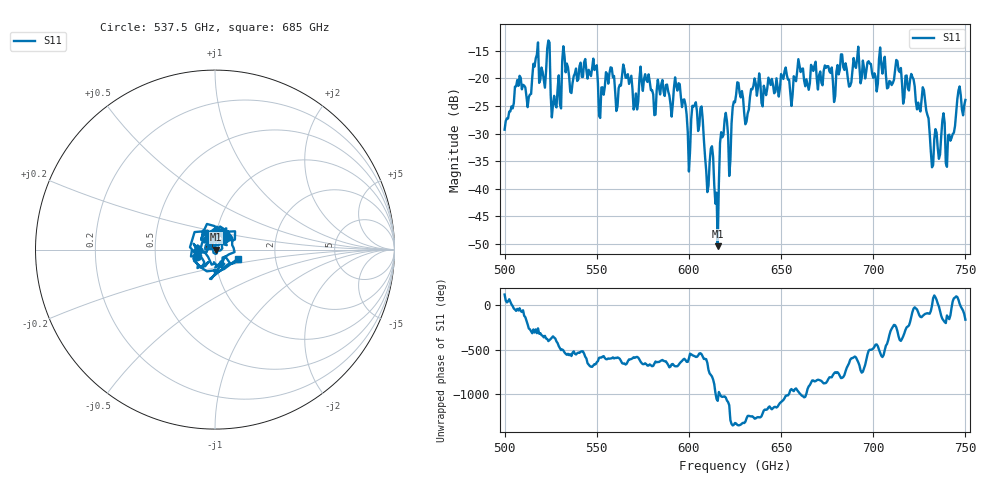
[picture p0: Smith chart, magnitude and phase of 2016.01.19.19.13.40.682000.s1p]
!Created with skrf (http://scikit-rf.org).
# GHz S RI R 50.0
!freq ReS11 ImS11
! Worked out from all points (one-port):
!   401 points, 500 GHz to 750 GHz, reference 50 ohm
!   lowest |S11| = -50.4 dB at 615.6 GHz (marker M1), VSWR 1.01, Z = 50.3 + j0.0271 ohm
!   |S11| at or under -10 dB: start of sweep to end of sweep
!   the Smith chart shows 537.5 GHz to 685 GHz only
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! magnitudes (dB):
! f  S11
! 500 GHz  -29.3
! 507.5 GHz  -21.3
! 513.1 GHz  -23.4
! 516.9 GHz  -16.4
! 523.8 GHz  -13.1
! 526.9 GHz  -23.1
! 531.2 GHz  -16.8
! 562.5 GHz  -21.1
! 593.8 GHz  -22.2
! 600 GHz  -36.9
! 602.5 GHz  -25.1
! 606.9 GHz  -25.1
! 609.4 GHz  -36.7
! 612.5 GHz  -32.3
! 615.6 GHz  -50.4
! 618.1 GHz  -30.7
! 622.5 GHz  -34.8
! 625 GHz  -24.3
! 631.2 GHz  -27.8
! 635 GHz  -21.3
! 656.2 GHz  -23.0
! 660.6 GHz  -18.8
! 687.5 GHz  -21.3
! 690.6 GHz  -18.1
! 718.8 GHz  -21.7
! 728.1 GHz  -24.0
! 731.9 GHz  -36.1
! 750 GHz  -23.9
